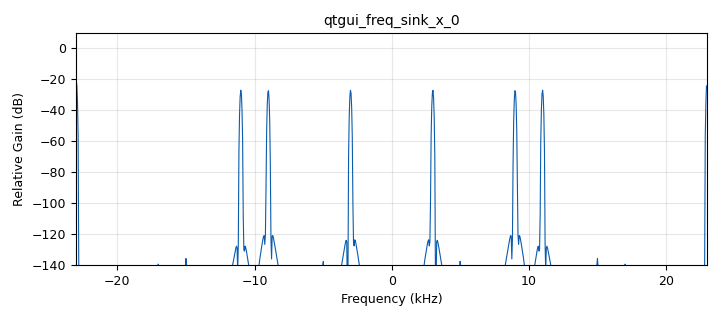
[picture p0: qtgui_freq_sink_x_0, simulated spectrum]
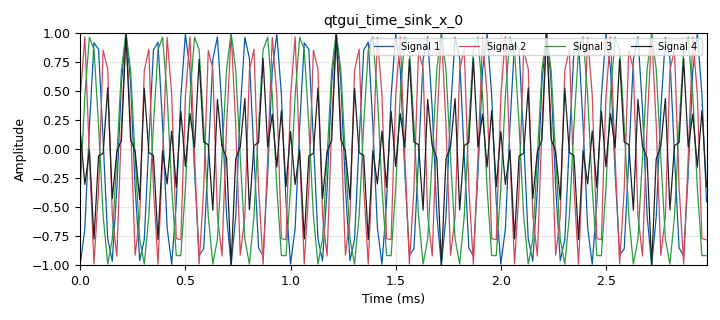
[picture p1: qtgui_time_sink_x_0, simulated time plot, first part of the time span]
options:
  parameters:
    author: uis-e3t
    generate_options: qt_gui
    id: punto3
    output_language: python
    title: punto3
  states: {}

blocks:
- name: samp_rate
  id: variable_qtgui_range
  parameters:
    label: frecuencia de muestreo
    orient: Qt.Horizontal
    start: '46000'
    step: '1000'
    stop: '460000'
    value: '46000'
  states: {}
- name: analog_sig_source_x_0
  id: analog_sig_source_x
  parameters:
    amp: '1'
    freq: '10000'
    offset: '0'
    phase: '0'
    samp_rate: samp_rate
    type: float
    waveform: analog.GR_COS_WAVE
  states: {}
- name: analog_sig_source_x_1
  id: analog_sig_source_x
  parameters:
    amp: '1'
    freq: '6000'
    offset: '0'
    phase: '0'
    samp_rate: samp_rate
    type: float
    waveform: analog.GR_COS_WAVE
  states: {}
- name: analog_sig_source_x_2
  id: analog_sig_source_x
  parameters:
    amp: '1'
    freq: '7000'
    offset: '0'
    phase: '0'
    samp_rate: samp_rate
    type: float
    waveform: analog.GR_COS_WAVE
  states: {}
- name: blocks_multiply_xx_0
  id: blocks_multiply_xx
  parameters:
    num_inputs: '3'
    type: float
  states: {}
- name: qtgui_freq_sink_x_0
  id: qtgui_freq_sink_x
  parameters:
    bw: samp_rate
    fc: '0'
    fftsize: '1024'
    type: float
    wintype: firdes.WIN_BLACKMAN_hARRIS
  states: {}
- name: qtgui_time_sink_x_0
  id: qtgui_time_sink_x
  parameters:
    nconnections: '4'
    size: 1024*4
    srate: samp_rate
    type: float
  states: {}

connections:
- [analog_sig_source_x_0, '0', blocks_multiply_xx_0, '1']
- [analog_sig_source_x_0, '0', qtgui_time_sink_x_0, '1']
- [analog_sig_source_x_1, '0', blocks_multiply_xx_0, '2']
- [analog_sig_source_x_1, '0', qtgui_time_sink_x_0, '2']
- [analog_sig_source_x_2, '0', blocks_multiply_xx_0, '0']
- [analog_sig_source_x_2, '0', qtgui_time_sink_x_0, '0']
- [blocks_multiply_xx_0, '0', qtgui_freq_sink_x_0, '0']
- [blocks_multiply_xx_0, '0', qtgui_time_sink_x_0, '3']

metadata:
  file_format: 1
